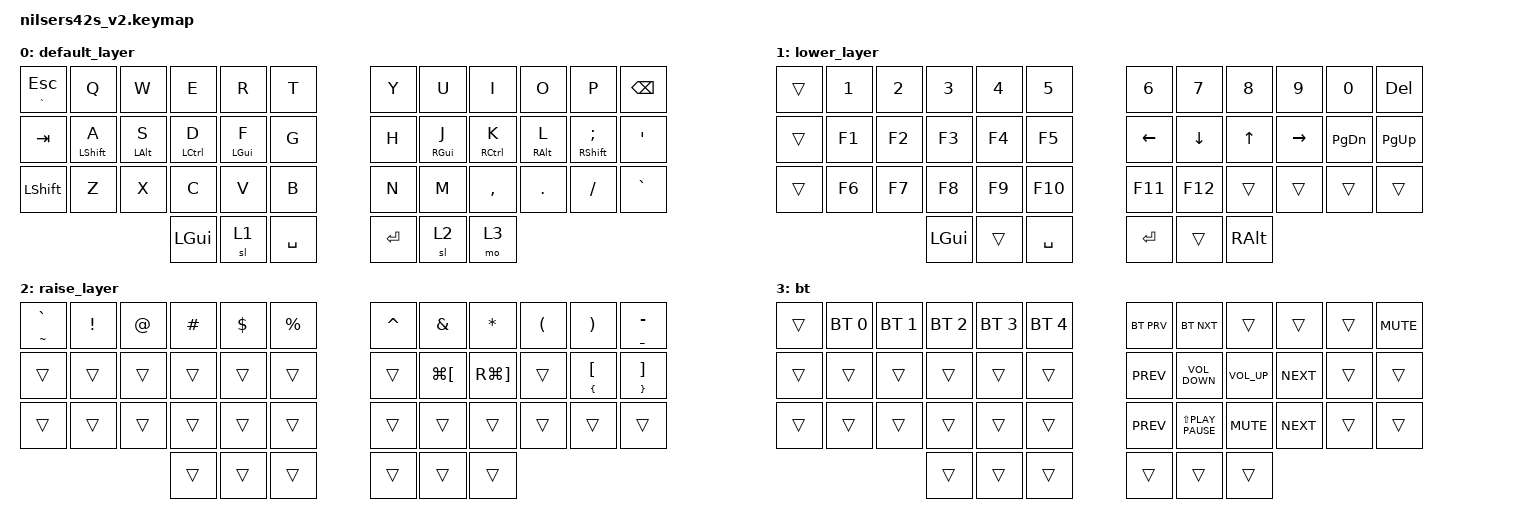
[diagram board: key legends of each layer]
#include <behaviors.dtsi>
#include <dt-bindings/zmk/bt.h>
#include <dt-bindings/zmk/keys.h>

// hello

/ {
    behaviors {
        ht: ht {
            compatible = "zmk,behavior-hold-tap";
            label = "HT";
            bindings = <&kp>, <&kp>;

            #binding-cells = <2>;
            flavor = "tap-preferred";
            tapping-term-ms = <200>;
            require-prior-idle-ms = <125>;
            quick-tap-ms = <200>;
        };

        // Home row mods: left hand. Only right-hand keys/thumbs can trigger
        // a hold, so fast same-hand rolling (e.g. "as", "df") always taps.

        hml: home_row_mod_left {
            compatible = "zmk,behavior-hold-tap";
            label = "HML";
            bindings = <&kp>, <&kp>;

            #binding-cells = <2>;
            flavor = "balanced";
            tapping-term-ms = <200>;
            require-prior-idle-ms = <150>;
            quick-tap-ms = <200>;
            hold-trigger-on-release;
            hold-trigger-key-positions = <6 7 8 9 10 11 18 19 20 21 22 23 30 31 32 33 34 35 39 40 41>;
        };

        // Home row mods: right hand. Only left-hand keys/thumbs can trigger
        // a hold, so fast same-hand rolling (e.g. "jk", "kl") always taps.

        hmr: home_row_mod_right {
            compatible = "zmk,behavior-hold-tap";
            label = "HMR";
            bindings = <&kp>, <&kp>;

            #binding-cells = <2>;
            flavor = "balanced";
            tapping-term-ms = <200>;
            require-prior-idle-ms = <150>;
            quick-tap-ms = <200>;
            hold-trigger-on-release;
            hold-trigger-key-positions = <0 1 2 3 4 5 12 13 14 15 16 17 24 25 26 27 28 29 36 37 38>;
        };
    };

    combos {
        compatible = "zmk,combos";

        bt_clear {
            bindings = <&bt BT_CLR>;
            key-positions = <0 12 24>;
        };

        kp_eq_plus {
            bindings = <&kp EQUAL>;
            key-positions = <10 11>;
        };

        kp_backslash {
            bindings = <&kp BACKSLASH>;
            key-positions = <22 23>;
        };

        caps {
            bindings = <&kp CAPS>;
            key-positions = <24 25>;
        };

        grave {
            bindings = <&kp GRAVE>;
            key-positions = <0 1>;
        };

        l_bootloader {
            bindings = <&bootloader>;
            key-positions = <13 14 15 16>;
        };

        r_bootloader {
            bindings = <&bootloader>;
            key-positions = <19 20 21 22>;
        };

        bt_clr_all {
            bindings = <&bt BT_CLR_ALL>;
            key-positions = <1 13 25>;
        };
    };

    keymap {
        compatible = "zmk,keymap";

        default_layer {
            // -----------------------------------------------------------------------------------------
            // | GRV/ESC |  Q  |  W  |  E  |  R  |  T  |   |  Y  |  U  |  I  |  O  |  P  | BSPC |
            // |   TAB   |  A  |  S  |  D  |  F  |  G  |   |  H  |  J  |  K  |  L  |  ;  |  '   |
            // |  SHFT   |  Z  |  X  |  C  |  V  |  B  |   |  N  |  M  |  ,  |  .  |  /  | GRV  |
            //                       | GUI | LWR | SPC |   | ENT | RSE  | ALT |
            // Home row mods (hold): A=LSFT S=LALT D=LCTL F=LGUI | J=RGUI K=RCTL L=RALT ;=RSFT

            bindings = <
&ht GRAVE ESC  &kp Q         &kp W            &kp E         &kp R        &kp T        &kp Y    &kp U        &kp I         &kp O             &kp P            &kp BSPC
&kp TAB        &hml LSHFT A  &hml LEFT_ALT S  &hml LCTRL D  &hml LGUI F  &kp G        &kp H    &hmr RGUI J  &hmr RCTRL K  &hmr RIGHT_ALT L  &hmr RSHFT SEMI  &kp SQT
&kp LSHFT      &kp Z         &kp X            &kp C         &kp V        &kp B        &kp N    &kp M        &kp COMMA     &kp DOT           &kp FSLH         &kp GRAVE
                                              &kp LGUI      &sl 1        &kp SPACE    &kp RET  &sl 2        &mo 3
            >;
        };

        lower_layer {
            // -----------------------------------------------------------------------------------------
            // |     |  1  |  2  |  3  |  4  |  5  |   |  6  |  7  |  8  |  9  |  0  |     |
            // |     |     |     |     |     |     |   | LFT | DWN |  UP | RGT | PGDN | PGUP |
            // |     |     |     |     |     |     |   |     |     |     |     |     |     |
            //                    | GUI |     | SPC |   | ENT |     | ALT |

            bindings = <
&trans  &kp N1  &kp N2  &kp N3    &kp N4  &kp N5       &kp N6    &kp N7    &kp N8    &kp N9     &kp N0         &kp DEL
&trans  &kp F1  &kp F2  &kp F3    &kp F4  &kp F5       &kp LEFT  &kp DOWN  &kp UP    &kp RIGHT  &kp PAGE_DOWN  &kp PAGE_UP
&trans  &kp F6  &kp F7  &kp F8    &kp F9  &kp F10      &kp F11   &kp F12   &trans    &trans     &trans         &trans
                        &kp LGUI  &trans  &kp SPACE    &kp RET   &trans    &kp RALT
            >;
        };

        raise_layer {
            // -----------------------------------------------------------------------------------------
            // | GRV/~ |  !  |  @  |  #  |  $  |  %  |   |  ^  |  &  |  *  |  (  |  )  | -/_  |
            // |       |     |     |     |     |     |   |     |GUI+[|ALT+]|     | [/{  | ]/}  |
            // |       |     |     |     |     |     |   |     |     |     |     |     |      |
            //                    |     |     |     |   |     |     |     |
            // Row0: hold GRV for ~, hold - for _ | Row1: [/{  ]/} are hold-tap (hold=brace)

            bindings = <
&ht TILDE GRAVE  &kp EXCL  &kp AT  &kp HASH  &kp DLLR  &kp PRCNT    &kp CARET  &kp AMPS              &kp ASTRK              &kp LPAR  &kp RPAR                     &ht UNDER MINUS
&trans           &trans    &trans  &trans    &trans    &trans       &trans     &kp LG(LEFT_BRACKET)  &kp RG(RIGHT_BRACKET)  &trans    &ht LEFT_BRACE LEFT_BRACKET  &ht RIGHT_BRACE RIGHT_BRACKET
&trans           &trans    &trans  &trans    &trans    &trans       &trans     &trans                &trans                 &trans    &trans                       &trans
                                   &trans    &trans    &trans       &trans     &trans                &trans
            >;
        };

        bt {
            // -----------------------------------------------------------------------------------------
            // |     | BT0 | BT1 | BT2 | BT3 | BT4 |   |BTPRV|BTNXT|     |     |     | MUTE |
            // |     |     |     |     |     |     |   |PREV |VOL- |VOL+ |NEXT |     |      |
            // |     |     |     |     |     |     |   |PREV |SH+PLAY|MUTE|NEXT|     |      |
            //                    |     |     |     |   |     |     |     |

            bindings = <
&trans  &bt BT_SEL 0  &bt BT_SEL 1  &bt BT_SEL 2  &bt BT_SEL 3  &bt BT_SEL 4    &bt BT_PRV  &bt BT_NXT            &trans           &trans      &trans  &kp C_MUTE
&trans  &trans        &trans        &trans        &trans        &trans          &kp C_PREV  &kp C_VOLUME_DOWN     &kp C_VOLUME_UP  &kp C_NEXT  &trans  &trans
&trans  &trans        &trans        &trans        &trans        &trans          &kp K_PREV  &kp LS(K_PLAY_PAUSE)  &kp K_MUTE       &kp K_NEXT  &trans  &trans
                                    &trans        &trans        &trans          &trans      &trans                &trans
            >;
        };
    };
};
